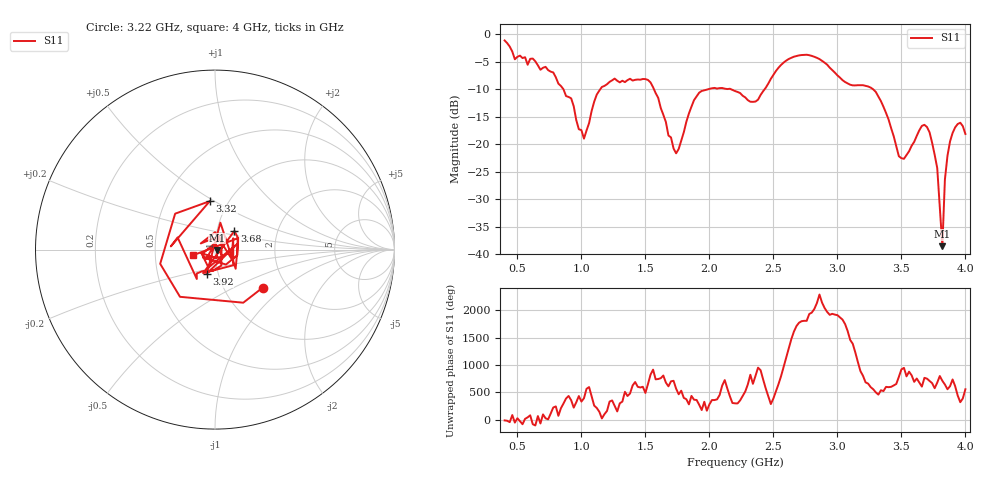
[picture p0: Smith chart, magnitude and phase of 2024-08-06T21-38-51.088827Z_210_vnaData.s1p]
!Created with skrf (http://scikit-rf.org).
# Hz S RI R 50.0
!freq ReS11 ImS11
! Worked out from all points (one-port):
!   181 points, 400 MHz to 4 GHz, reference 50 ohm
!   lowest |S11| = -38.5 dB at 3.82 GHz (marker M1), VSWR 1.02, Z = 51.2 - j0.232 ohm
!   |S11| at or under -10 dB: 859.8 MHz to 1.147 GHz (287.6 MHz wide, 28.7 % of centre); 1.567 GHz to 1.99 GHz (423 MHz wide, 23.8 % of centre); 3.279 GHz to end of sweep (the widest 3 of 4)
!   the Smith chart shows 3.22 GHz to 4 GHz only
!   S11 on the Smith chart (normalised r, x): 3.22 GHz: 1.51, -0.73; 3.32 GHz: 0.82, +0.48; 3.68 GHz: 1.21, +0.26; 3.92 GHz: 0.88, -0.24; 4 GHz: 0.78, -0.05
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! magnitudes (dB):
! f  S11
! 400 MHz  -1.1
! 480 MHz  -4.6
! 620 MHz  -4.4
! 860 MHz  -10.0
! 1.02 GHz  -19.0
! 1.12 GHz  -11.0
! 1.3 GHz  -8.8
! 1.54 GHz  -8.8
! 1.72 GHz  -20.8
! 1.76 GHz  -20.9
! 1.92 GHz  -10.6
! 2.2 GHz  -10.3
! 2.36 GHz  -12.2
! 2.66 GHz  -4.1
! 2.86 GHz  -4.5
! 3.1 GHz  -9.2
! 3.22 GHz  -9.4
! 3.32 GHz  -11.3
! 3.48 GHz  -22.2
! 3.56 GHz  -21.3
! 3.68 GHz  -16.5
! 3.72 GHz  -17.8
! 3.78 GHz  -24.3
! 3.82 GHz  -38.5
! 3.84 GHz  -26.4
! 3.88 GHz  -19.5
! 3.92 GHz  -16.9
! 4 GHz  -18.1
